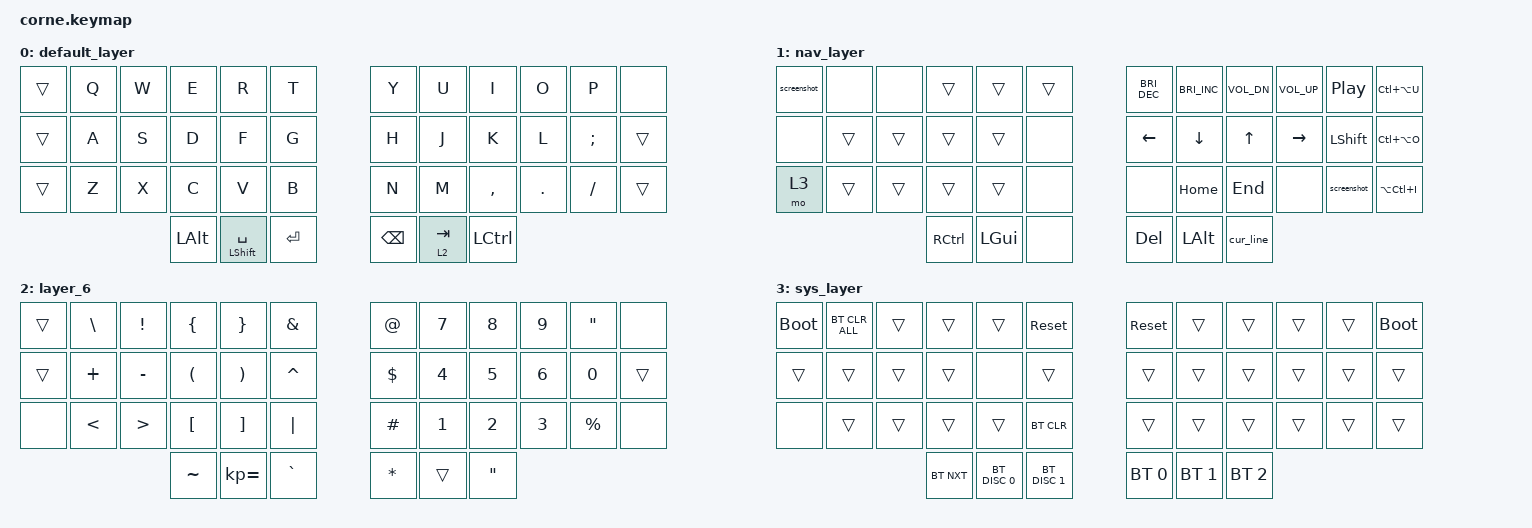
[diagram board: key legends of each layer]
/*
 * Copyright (c) 2020 The ZMK Contributors
 *
 * SPDX-License-Identifier: MIT
 */

#include <behaviors.dtsi>
#include <dt-bindings/zmk/bt.h>
#include <dt-bindings/zmk/keys.h>

#define DEFAULT 0
#define RAISE   1
#define NUM     2

#pragma once

//visualize keymap at https://nickcoutsos.github.io/keymap-editor/

&lt {
    flavor = "hold-preferred";
    tapping-term-ms = <120>;
    quick-tap-ms = <120>;
};

/ {
    behaviours {
        rpi: require_prior_idle {
            compatible = "zmk,behavior-hold-tap";
            #binding-cells = <2>;
            flavor = "tap-preferred";
            tapping-term-ms = <200>;
            quick-tap-ms = <0>;
            require-prior-idle-ms = <125>;
            bindings = <&kp>, <&kp>;
        };

        mytap: mytap {
            compatible = "zmk,behavior-hold-tap";
            label = "MYTAP";
            bindings = <&mo>, <&kp>;

            #binding-cells = <2>;
            flavor = "balanced";
            tapping-term-ms = <180>;
            require-prior-idle-ms = <100>;
            quick-tap-ms = <50>;
        };

        shiftesc: shiftesc {
            compatible = "zmk,behavior-hold-tap";
            bindings = <&mo>, <&kp>;

            #binding-cells = <2>;
            flavor = "balanced";
            tapping-term-ms = <180>;
            require-prior-idle-ms = <100>;
            quick-tap-ms = <50>;
        };
    };

    behaviors {
    };

    combos {
        compatible = "zmk,combos";

        under {
            bindings = <&kp UNDERSCORE>;
            key-positions = <16 20>;
            require-prior-idle-ms = <0>;
            layers = <0>;
        };

        hyp {
            bindings = <&kp EQUAL>;
            key-positions = <16 19>;
            layers = <0>;
        };

        quote {
            bindings = <&kp SQT>;
            key-positions = <16 14>;
            layers = <0>;
        };

        colon {
            bindings = <&kp COLON>;
            key-positions = <19 21>;
        };

        semicol {
            bindings = <&kp MINUS>;
            key-positions = <15 20>;
        };

        par {
            bindings = <&kp ESCAPE>;
            key-positions = <19 20>;
            layers = <0>;
        };

        brac {
            bindings = <&mt LEFT_GUI ASTERISK>;
            key-positions = <21 22>;
            layers = <0>;
        };

        equal {
            bindings = <&mo 1>;
            key-positions = <16 15>;
            layers = <0>;
        };
    };

    macros {
        up_dir: up_dir {
            compatible = "zmk,behavior-macro";
            #binding-cells = <0>;
            bindings = <&kp DOT &kp DOT &kp FSLH>;
            label = "UP_DIR";
            wait-ms = <1>;
            tap-ms = <1>;
        };

        screenshot: screenshot {
            compatible = "zmk,behavior-macro";
            #binding-cells = <0>;
            bindings = <&kp LG(LS(NUMBER_4))>;
            label = "SCREENSHOT";
        };

        mac_next_word: mac_next_word {
            compatible = "zmk,behavior-macro";
            #binding-cells = <0>;
            bindings = <&kp LA(RIGHT)>;
            label = "MAC_NEXT_WORD";
            wait-ms = <1>;
            tap-ms = <1>;
        };

        mac_prev_word: mac_prev_word {
            compatible = "zmk,behavior-macro";
            #binding-cells = <0>;
            bindings = <&kp LA(LEFT)>;
            label = "MAC_PREV_WORD";
            wait-ms = <1>;
            tap-ms = <1>;
        };

        cur_line: cur_line {
            compatible = "zmk,behavior-macro";
            #binding-cells = <0>;
            bindings =
                <&macro_press>,
                <&kp LEFT_GUI>,
                <&macro_tap>,
                <&kp LEFT &kp RS(RIGHT)>,
                <&macro_release>,
                <&kp LEFT_GUI>;

            label = "LINE_BEFORE";
            wait-ms = <1>;
            tap-ms = <1>;
        };
    };

    keymap {
        compatible = "zmk,keymap";

        default_layer {
            bindings = <
&trans  &kp Q  &kp W  &kp E         &kp R                 &kp T        &kp Y          &kp U         &kp I      &kp O    &kp P          &none
&trans  &kp A  &kp S  &kp D         &kp F                 &kp G        &kp H          &kp J         &kp K      &kp L    &kp SEMICOLON  &trans
&trans  &kp Z  &kp X  &kp C         &kp V                 &kp B        &kp N          &kp M         &kp COMMA  &kp DOT  &kp SLASH      &trans
                      &kp LEFT_ALT  &mt LEFT_SHIFT SPACE  &kp ENTER    &kp BACKSPACE  &mytap 2 TAB  &kp LCTRL
            >;
        };

        nav_layer {
            bindings = <
&screenshot  &none   &none   &trans     &trans    &trans    &kp C_BRIGHTNESS_DEC  &kp C_BRIGHTNESS_INC  &kp C_VOL_DN  &kp C_VOLUME_UP  &kp C_PLAY_PAUSE  &kp LC(LA(U))
&none        &trans  &trans  &trans     &trans    &none     &kp LEFT              &kp DOWN              &kp UP_ARROW  &kp RIGHT        &kp LEFT_SHIFT    &kp LC(LA(O))
&mo 3        &trans  &trans  &trans     &trans    &none     &none                 &kp HOME              &kp END       &none            &screenshot       &kp LA(LC(I))
                             &kp RCTRL  &kp LGUI  &none     &kp DELETE            &kp LEFT_ALT          &cur_line
            >;
        };

        layer_6 {
            bindings = <
&trans  &kp BACKSLASH  &kp EXCLAMATION   &kp LEFT_BRACE        &kp RIGHT_BRACE        &kp AMPS     &kp AT        &kp N7        &kp N8             &kp N9        &kp DOUBLE_QUOTES  &none
&trans  &kp PLUS       &kp MINUS         &kp LEFT_PARENTHESIS  &kp RIGHT_PARENTHESIS  &kp CARET    &kp DOLLAR    &kp NUMBER_4  &kp N5             &kp NUMBER_6  &kp N0             &trans
&none   &kp LESS_THAN  &kp GREATER_THAN  &kp LEFT_BRACKET      &kp RIGHT_BRACKET      &kp PIPE     &kp HASH      &kp NUMBER_1  &kp NUMBER_2       &kp NUMBER_3  &kp PERCENT        &none
                                         &kp TILDE             &kp KP_EQUAL           &kp GRAVE    &kp ASTERISK  &trans        &kp DOUBLE_QUOTES
            >;
        };

        sys_layer {
            bindings = <
&bootloader  &bt BT_CLR_ALL  &trans  &trans      &trans         &sys_reset       &sys_reset    &trans        &trans        &trans  &trans  &bootloader
&trans       &trans          &trans  &trans      &none          &trans           &trans        &trans        &trans        &trans  &trans  &trans
&none        &trans          &trans  &trans      &trans         &bt BT_CLR       &trans        &trans        &trans        &trans  &trans  &trans
                                     &bt BT_NXT  &bt BT_DISC 0  &bt BT_DISC 1    &bt BT_SEL 0  &bt BT_SEL 1  &bt BT_SEL 2
            >;
        };
    };

    conditional_layers { compatible = "zmk,conditional-layers"; };
};
